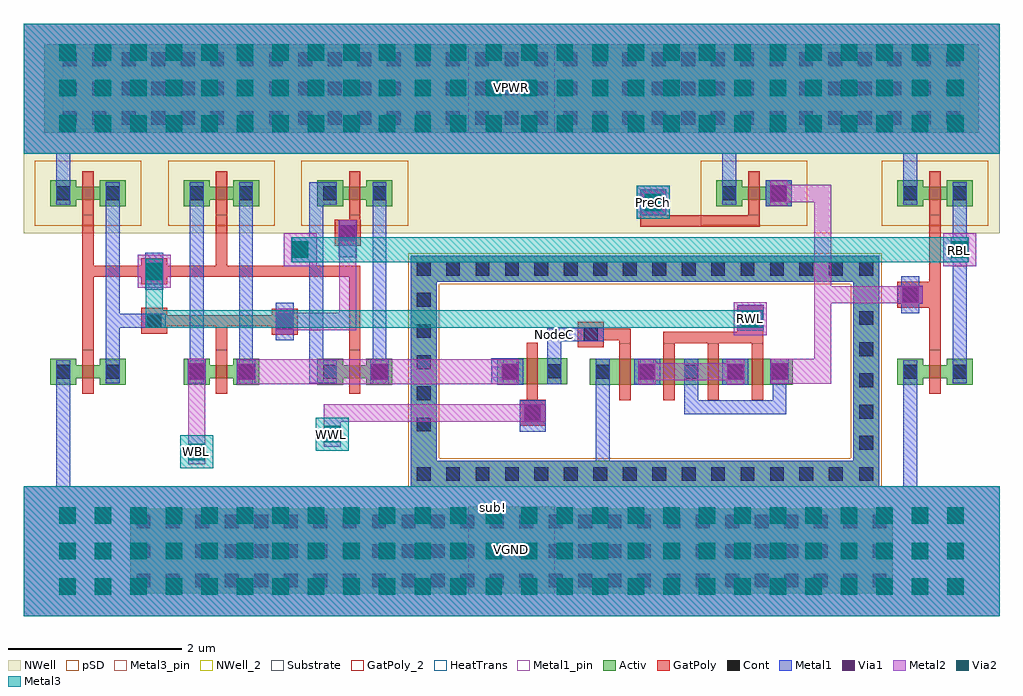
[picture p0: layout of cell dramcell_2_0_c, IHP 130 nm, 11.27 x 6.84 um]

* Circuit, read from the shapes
.subckt dramcell_2_0_c NodeC PreCh RBL RWL VGND VPWR WBL WWL
XM1 n1 RWL VGND VGND sg13_lv_nmos w=0.15u l=0.13u
XM2 n2 n1 WBL VGND sg13_lv_nmos w=0.15u l=0.13u
XM3 n2 RWL RBL VGND sg13_lv_nmos w=0.15u l=0.13u
XM4 NodeC WWL n2 VGND sg13_lv_nmos w=0.3u l=0.13u
XM5 n3 NodeC VGND VGND sg13_lv_nmos w=0.3u l=0.13u
XM6 n4 RWL n3 VGND sg13_lv_nmos w=0.3u l=0.13u m=3
XM7 RBL n4 VGND VGND sg13_lv_nmos w=0.15u l=0.13u
XM8 n1 RWL VPWR VPWR sg13_lv_pmos w=0.15u l=0.13u
XM9 n2 RWL WBL VPWR sg13_lv_pmos w=0.15u l=0.13u
XM10 n2 n1 RBL VPWR sg13_lv_pmos w=0.15u l=0.13u
XM11 n4 PreCh VPWR VPWR sg13_lv_pmos w=0.15u l=0.13u
XM12 RBL n4 VPWR VPWR sg13_lv_pmos w=0.15u l=0.13u
.ends

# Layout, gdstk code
from math import pi, radians
import gdstk
lib = gdstk.Library(unit=1e-6, precision=1e-09)
def R(c, l, rs):  # rectangles x0, y0, x1, y1
    for r in rs: c.add(gdstk.rectangle(r[:2], r[2:], *l))
def A(c, l, x, y, w, h, nx, ny, dx, dy):  # array of equal rectangles
    R(c, l, [(x+i*dx, y+j*dy, x+i*dx+w, y+j*dy+h) for i in range(nx) for j in range(ny)])
def P(c, l, *ps):  # polygons
    for p in ps: c.add(gdstk.Polygon(p, *l))
Activ = (1, 0)
GatPoly = (5, 0)
GatPoly_2 = (5, 2)
Cont = (6, 0)
Metal1 = (8, 0)
Metal1_pin = (8, 2)
Metal2 = (10, 0)
pSD = (14, 0)
Via1 = (19, 0)
Via2 = (29, 0)
Metal3 = (30, 0)
Metal3_pin = (30, 2)
NWell = (31, 0)
NWell_2 = (31, 2)
Substrate = (40, 0)
HeatTrans = (51, 0)

via_stack_4 = lib.new_cell('via_stack$4')
R(via_stack_4, Metal1, [(-0.145,-0.105,0.145,0.105)])
R(via_stack_4, Metal2, [(-0.145,-0.1,0.145,0.1)])
R(via_stack_4, Via1, [(-0.095,-0.095,0.095,0.095)])

nmos = lib.new_cell('nmos')
R(nmos, Activ, [(0,0,0.3,0.3), (0.57,0,0.87,0.3), (0,0.075,0.87,0.225)])
R(nmos, GatPoly, [(0.37,-0.105,0.5,0.405)])
R(nmos, GatPoly_2, [(0.37,-0.105,0.5,0.405)])
R(nmos, Cont, [(0.07,0.07,0.23,0.23), (0.64,0.07,0.8,0.23)])
R(nmos, Metal1, [(0.07,0.02,0.23,0.28), (0.64,0.02,0.8,0.28)])
R(nmos, Metal1_pin, [(0.07,0.02,0.23,0.28), (0.64,0.02,0.8,0.28)])
R(nmos, HeatTrans, [(0.37,-0.105,0.5,0.405)])
nmos.add(gdstk.Label('nmos', (0.435,0.15), layer=63, texttype=0))
nmos.add(gdstk.Label('nmos', (0.435,0.15), layer=51, texttype=0))

pmos = lib.new_cell('pmos')
R(pmos, Activ, [(0,0,0.3,0.3), (0.57,0,0.87,0.3), (0,0.075,0.87,0.225)])
R(pmos, GatPoly, [(0.37,-0.105,0.5,0.405), (0.37,-0.105,0.5,0.405)])
R(pmos, Cont, [(0.07,0.07,0.23,0.23), (0.64,0.07,0.8,0.23)])
R(pmos, Metal1, [(0.07,0.02,0.23,0.28), (0.07,0.02,0.23,0.28), (0.64,0.02,0.8,0.28), (0.64,0.02,0.8,0.28)])
R(pmos, pSD, [(-0.18,-0.225,1.05,0.525)])
R(pmos, NWell, [(-0.31,-0.31,1.18,0.61)])
R(pmos, Substrate, [(0.57,0,0.87,0.3)])
R(pmos, HeatTrans, [(0.37,-0.105,0.5,0.405)])
pmos.add(gdstk.Label('pmos', (0.435,0.15), layer=63, texttype=0))
pmos.add(gdstk.Label('pmos', (0.435,0.15), layer=51, texttype=0))

via_stack = lib.new_cell('via_stack')
R(via_stack, GatPoly, [(-0.15,-0.15,0.15,0.15)])
R(via_stack, Cont, [(-0.08,-0.08,0.08,0.08)])
R(via_stack, Metal1, [(-0.145,-0.105,0.145,0.105)])
R(via_stack, Metal2, [(-0.145,-0.1,0.145,0.1)])
R(via_stack, Via1, [(-0.095,-0.095,0.095,0.095)])

via_stack_7 = lib.new_cell('via_stack$7')
R(via_stack_7, GatPoly, [(-0.15,-0.15,0.15,0.15)])
R(via_stack_7, Cont, [(-0.08,-0.08,0.08,0.08)])
R(via_stack_7, Metal1, [(-0.145,-0.105,0.145,0.105)])
R(via_stack_7, Metal2, [(-0.145,-0.1,0.145,0.1)])
R(via_stack_7, Via1, [(-0.095,-0.095,0.095,0.095)])
R(via_stack_7, Via2, [(-0.095,-0.095,0.095,0.095)])
R(via_stack_7, Metal3, [(-0.145,-0.1,0.145,0.1)])

via_stack_6 = lib.new_cell('via_stack$6')
R(via_stack_6, Metal1, [(-0.145,-0.105,0.145,0.105)])
R(via_stack_6, Metal2, [(-0.145,-0.1,0.145,0.1)])
R(via_stack_6, Via1, [(-0.095,-0.095,0.095,0.095)])
R(via_stack_6, Via2, [(-0.095,-0.095,0.095,0.095)])
R(via_stack_6, Metal3, [(-0.145,-0.1,0.145,0.1)])

via_stack_8 = lib.new_cell('via_stack$8')
R(via_stack_8, Metal1, [(-5.27,-0.515,5.27,0.515)])
R(via_stack_8, Metal2, [(-5.27,-0.51,5.27,0.51)])
A(via_stack_8, Via1, -5.22, -0.505, 0.19, 0.19, 26, 3, 0.41, 0.41)
A(via_stack_8, Via2, -5.22, -0.505, 0.19, 0.19, 26, 3, 0.41, 0.41)
R(via_stack_8, Metal3, [(-5.27,-0.51,5.27,0.51)])

via_stack_9 = lib.new_cell('via_stack$9')
R(via_stack_9, Activ, [(-4.4,-0.49,4.4,0.49)])
A(via_stack_9, Cont, -4.33, -0.42, 0.16, 0.16, 26, 3, 0.34, 0.34)
R(via_stack_9, Metal1, [(-5.27,-0.515,5.27,0.515)])
R(via_stack_9, Metal2, [(-5.27,-0.51,5.27,0.51)])
A(via_stack_9, Via1, -5.22, -0.505, 0.19, 0.19, 26, 3, 0.41, 0.41)
A(via_stack_9, Via2, -5.22, -0.505, 0.19, 0.19, 26, 3, 0.41, 0.41)
R(via_stack_9, Metal3, [(-5.27,-0.51,5.27,0.51)])

via_stack_11 = lib.new_cell('via_stack$11')
R(via_stack_11, GatPoly, [(-0.15,-0.15,0.15,0.15)])
R(via_stack_11, Cont, [(-0.08,-0.08,0.08,0.08)])
R(via_stack_11, Metal1, [(-0.13,-0.08,0.13,0.08)])

ntap1 = lib.new_cell('ntap1')
R(ntap1, Activ, [(0,0,10.79,1.02)])
A(ntap1, Cont, 0.215, 0.09, 0.16, 0.16, 31, 3, 0.34, 0.34)
R(ntap1, Metal1, [(0.215,0.04,10.575,0.98)])
R(ntap1, Metal1_pin, [(0.215,0.04,10.575,0.98), (0.215,0.09,10.575,0.93)])
R(ntap1, NWell, [(-0.24,-0.24,11.03,1.26), (0,0,10.79,1.02)])
R(ntap1, NWell_2, [(0,0,10.79,1.02)])
ntap1.add(gdstk.Label('well', (5.395,0.01), layer=63, texttype=0))
ntap1.add(gdstk.Label('well', (5.395,0.01), layer=31, texttype=0))

via_stack_10 = lib.new_cell('via_stack$10')
R(via_stack_10, Metal2, [(-0.145,-0.1,0.145,0.1)])
R(via_stack_10, Via2, [(-0.095,-0.095,0.095,0.095)])
R(via_stack_10, Metal3, [(-0.145,-0.1,0.145,0.1)])

nmos_2 = lib.new_cell('nmos$2')
R(nmos_2, Activ, [(0,0,0.3,0.3), (0,0,0.81,0.3), (0.51,0,0.81,0.3)])
R(nmos_2, GatPoly, [(0.34,-0.18,0.47,0.48)])
R(nmos_2, GatPoly_2, [(0.34,-0.18,0.47,0.48)])
R(nmos_2, Cont, [(0.07,0.07,0.23,0.23), (0.58,0.07,0.74,0.23)])
R(nmos_2, Metal1, [(0.07,0,0.23,0.3), (0.58,0,0.74,0.3)])
R(nmos_2, Metal1_pin, [(0.07,0,0.23,0.3), (0.58,0,0.74,0.3)])
R(nmos_2, HeatTrans, [(0.34,-0.18,0.47,0.48)])
nmos_2.add(gdstk.Label('nmos', (0.405,0.15), layer=63, texttype=0))
nmos_2.add(gdstk.Label('nmos', (0.405,0.15), layer=51, texttype=0))

via_stack_2 = lib.new_cell('via_stack$2')
R(via_stack_2, GatPoly, [(-0.15,-0.15,0.15,0.15)])
R(via_stack_2, Cont, [(-0.08,-0.08,0.08,0.08)])
R(via_stack_2, Metal1, [(-0.13,-0.08,0.13,0.08)])

nmos_3 = lib.new_cell('nmos$3')
A(nmos_3, Activ, 0, 0, 0.3, 0.3, 5, 1, 0.51, 0)
R(nmos_3, Activ, [(0,0,2.34,0.3)])
A(nmos_3, GatPoly, 0.34, -0.18, 0.13, 0.66, 4, 1, 0.51, 0)
R(nmos_3, GatPoly_2, [(0.34,-0.18,0.47,0.48)])
A(nmos_3, Cont, 0.07, 0.07, 0.16, 0.16, 5, 1, 0.51, 0)
A(nmos_3, Metal1, 0.07, 0, 0.16, 0.3, 5, 1, 0.51, 0)
R(nmos_3, Metal1_pin, [(0.07,0,0.23,0.3), (0.58,0,0.74,0.3)])
A(nmos_3, HeatTrans, 0.34, -0.18, 0.13, 0.66, 4, 1, 0.51, 0)
nmos_3.add(gdstk.Label('nmos', (0.405,0.15), layer=63, texttype=0))
nmos_3.add(gdstk.Label('nmos', (0.405,0.15), layer=51, texttype=0))
nmos_3.add(gdstk.Label('nmos', (0.915,0.15), layer=51, texttype=0))
nmos_3.add(gdstk.Label('nmos', (1.425,0.15), layer=51, texttype=0))
nmos_3.add(gdstk.Label('nmos', (1.935,0.15), layer=51, texttype=0))

dramcell_2_0_c = lib.new_cell('dramcell_2_0_c')
R(dramcell_2_0_c, Activ, [(-1.5,-1.18,-1.2,1.49), (-1.2,-1.18,3.91,-0.88), (3.61,-0.88,3.91,1.49), (-1.2,1.19,3.61,1.49)])
R(dramcell_2_0_c, GatPoly, [(1.42,0.48,2.57,0.61), (4.42,0.89,4.49,1.19)])
A(dramcell_2_0_c, Cont, -1.43, -1.11, 0.16, 0.16, 15, 2, 0.34, 2.37)
A(dramcell_2_0_c, Cont, 3.68, -1.11, 0.16, 0.16, 1, 6, 0, 0.36)
A(dramcell_2_0_c, Cont, -1.43, -0.54, 0.16, 0.16, 1, 5, 0, 0.36)
R(dramcell_2_0_c, Cont, [(0.5,0.5,0.66,0.66), (3.68,1.26,3.84,1.42)])
R(dramcell_2_0_c, Metal1, [(-5.97,-2.675,5.3,-1.175), (-1.5,-1.18,-1.2,1.49), (-1.2,-1.18,3.91,-0.88), (3.61,-0.88,3.91,1.49), (-0.24,-0.545,0.06,-0.245), (-0.24,-0.48,0.06,-0.18), (-0.5,0,-0.2,0.3), (1.08,0,1.38,0.3), (2.1,0,2.4,0.3), (-0.57,0.005,-0.43,0.305), (-2.67,0.02,-2.51,2.34), (-3.06,0.515,-2.85,0.945), (2.275,0.625,2.575,0.925), (4.165,0.825,4.375,1.255), (-4.565,1.095,-4.355,1.525), (-1.2,1.19,3.61,1.49), (-2.33,1.47,-2.12,1.9), (1.15,1.955,1.45,2.255), (2.6,2.06,2.9,2.36), (-5.97,2.67,5.3,4.17)])
P(dramcell_2_0_c, Metal1, [(0.16,0.58),(0.16,0.58),(0.16,0.58),(0.16,0.58)])
R(dramcell_2_0_c, Metal1_pin, [(-0.56,0.08,-0.43,0.21), (0.095,0.515,0.225,0.645)])
R(dramcell_2_0_c, Metal2, [(-5.97,-2.675,5.3,-1.175), (2.86,0.01,3.36,0.3), (2.23,0.57,2.61,0.95), (-4.65,1.12,-4.27,1.5), (-2.965,1.37,-2.585,1.75), (4.65,1.37,5.03,1.75), (1.11,1.915,1.49,2.295), (1.15,1.955,1.45,2.255), (-5.97,2.67,5.3,4.17)])
R(dramcell_2_0_c, pSD, [(-5.97,-2.675,5.3,-1.175), (-1.53,-1.21,-1.17,1.16), (-1.17,-1.21,3.94,-0.85), (3.58,-0.85,3.94,1.52), (-1.53,1.16,3.58,1.52)])
R(dramcell_2_0_c, Metal3, [(-5.97,-2.675,5.3,-1.175), (-4.16,-0.965,-3.78,-0.585), (-2.595,-0.76,-2.215,-0.38), (1.11,1.915,1.49,2.295), (1.15,1.955,1.45,2.255), (-5.97,2.67,5.3,4.17)])
R(dramcell_2_0_c, Metal3_pin, [(-0.835,-2.41,0.165,-1.41), (-4.035,-0.84,-3.905,-0.71), (-2.475,-0.635,-2.345,-0.505), (2.355,0.695,2.485,0.825), (4.775,1.49,4.905,1.62), (1.235,2.045,1.365,2.175), (-0.835,2.915,0.165,3.915)])
R(dramcell_2_0_c, NWell, [(-4.48,1.75,-4.43,2.67), (-2.94,1.75,-2.89,2.67), (-1.4,1.75,1.72,2.67), (3.21,1.75,3.81,2.67)])
R(dramcell_2_0_c, Substrate, [(-5.97,-2.675,5.3,-1.175), (-1.5,-1.18,-1.2,1.19), (-1.2,-1.18,3.91,-0.88), (3.61,-0.88,3.91,1.49), (-1.5,1.19,3.61,1.49)])
dramcell_2_0_c.add(gdstk.FlexPath([(-4.59,0.74),(-4.86,0.74)], 0.16, ends="flush", simple_path=True, layer=8, datatype=0))  # Metal1
dramcell_2_0_c.add(gdstk.FlexPath([(-5.51,0.02),(-5.51,-1.175)], 0.16, ends="flush", simple_path=True, layer=8, datatype=0))  # Metal1
dramcell_2_0_c.add(gdstk.FlexPath([(-3.4,0.295),(-3.4,2.085)], 0.16, ends="flush", simple_path=True, layer=8, datatype=0))  # Metal1
dramcell_2_0_c.add(gdstk.FlexPath([(-3.97,0.3),(-3.97,2.085)], 0.16, ends="flush", simple_path=True, layer=8, datatype=0))  # Metal1
dramcell_2_0_c.add(gdstk.FlexPath([(-1.86,2.08),(-1.86,0.295)], 0.16, ends="flush", simple_path=True, layer=8, datatype=0))  # Metal1
dramcell_2_0_c.add(gdstk.FlexPath([(4.84,2.08),(4.84,0.28)], 0.16, ends="flush", simple_path=True, layer=8, datatype=0))  # Metal1
dramcell_2_0_c.add(gdstk.FlexPath([(-4.94,0.28),(-4.94,2.08)], 0.16, ends="flush", simple_path=True, layer=8, datatype=0))  # Metal1
dramcell_2_0_c.add(gdstk.FlexPath([(-5.51,2.34),(-5.51,2.67)], 0.16, ends="flush", simple_path=True, layer=8, datatype=0))  # Metal1
dramcell_2_0_c.add(gdstk.FlexPath([(4.27,0.025),(4.27,-1.175)], 0.16, ends="flush", simple_path=True, layer=8, datatype=0))  # Metal1
dramcell_2_0_c.add(gdstk.FlexPath([(4.27,2.34),(4.27,2.67)], 0.16, ends="flush", simple_path=True, layer=8, datatype=0))  # Metal1
dramcell_2_0_c.add(gdstk.FlexPath([(2.18,2.34),(2.18,2.67)], 0.16, ends="flush", simple_path=True, layer=8, datatype=0))  # Metal1
dramcell_2_0_c.add(gdstk.FlexPath([(0.16,0.305),(0.16,0.58),(0.73,0.58)], 0.16, ends="flush", simple_path=True, layer=8, datatype=0))  # Metal1
dramcell_2_0_c.add(gdstk.FlexPath([(0.72,0),(0.72,-0.88)], 0.16, ends="flush", simple_path=True, layer=8, datatype=0))  # Metal1
dramcell_2_0_c.add(gdstk.FlexPath([(1.74,0),(1.74,-0.26),(2.76,-0.26),(2.76,0),(2.76,0)], 0.16, ends="flush", simple_path=True, layer=8, datatype=0))  # Metal1
dramcell_2_0_c.add(gdstk.FlexPath([(-3.62,0.74),(-4.31,0.74)], 0.13, ends="flush", simple_path=True, layer=5, datatype=0))  # GatPoly
dramcell_2_0_c.add(gdstk.FlexPath([(-3.685,0.405),(-3.685,0.675)], 0.13, ends="flush", simple_path=True, layer=5, datatype=0))  # GatPoly
dramcell_2_0_c.add(gdstk.FlexPath([(-4.61,1.31),(-5.16,1.31)], 0.13, ends="flush", simple_path=True, layer=5, datatype=0))  # GatPoly
dramcell_2_0_c.add(gdstk.FlexPath([(4.555,1.96),(4.555,0.405)], 0.13, ends="flush", simple_path=True, layer=5, datatype=0))  # GatPoly
dramcell_2_0_c.add(gdstk.FlexPath([(-3.62,1.31),(-2.145,1.31),(-2.145,0.405)], 0.13, ends="flush", simple_path=True, layer=5, datatype=0))  # GatPoly
dramcell_2_0_c.add(gdstk.FlexPath([(-5.225,0.405),(-5.225,1.955),(-5.225,1.955),(-5.225,1.955)], 0.13, ends="flush", simple_path=True, layer=5, datatype=0))  # GatPoly
dramcell_2_0_c.add(gdstk.FlexPath([(-3.685,1.955),(-3.685,1.31),(-4.31,1.31)], 0.13, ends="flush", simple_path=True, layer=5, datatype=0))  # GatPoly
dramcell_2_0_c.add(gdstk.FlexPath([(-3.62,0.74),(-3.105,0.74)], 0.13, ends="flush", simple_path=True, layer=5, datatype=0))  # GatPoly
dramcell_2_0_c.add(gdstk.FlexPath([(2.465,1.955),(2.465,1.89),(1.21,1.89),(1.15,1.89)], 0.13, ends="flush", simple_path=True, layer=5, datatype=0))  # GatPoly
dramcell_2_0_c.add(gdstk.FlexPath([(-2.145,1.955),(-2.145,1.905)], 0.13, ends="flush", simple_path=True, layer=5, datatype=0))  # GatPoly
dramcell_2_0_c.add(gdstk.FlexPath([(0.975,0.48),(0.975,0.58),(0.73,0.58)], 0.13, ends="flush", simple_path=True, layer=5, datatype=0))  # GatPoly
dramcell_2_0_c.add(gdstk.FlexPath([(0.73,0.58),(0.43,0.58),(0.43,0.58)], 0.3, ends="flush", simple_path=True, layer=5, datatype=0))  # GatPoly
dramcell_2_0_c.add(gdstk.FlexPath([(1.33,0.15),(2.15,0.15)], 0.2, ends="flush", simple_path=True, layer=10, datatype=0))  # Metal2
dramcell_2_0_c.add(gdstk.FlexPath([(2.85,2.21),(3.26,2.21),(3.26,0.3)], 0.2, ends="flush", simple_path=True, layer=10, datatype=0))  # Metal2
dramcell_2_0_c.add(gdstk.FlexPath([(4.125,1.04),(3.36,1.04)], 0.2, ends="flush", simple_path=True, layer=10, datatype=0))  # Metal2
dramcell_2_0_c.add(gdstk.FlexPath([(-1.76,0.15),(-0.45,0.15)], 0.29, ends="flush", simple_path=True, layer=10, datatype=0))  # Metal2
dramcell_2_0_c.add(gdstk.FlexPath([(-3.3,0.15),(-1.96,0.15)], 0.29, ends="flush", simple_path=True, layer=10, datatype=0))  # Metal2
dramcell_2_0_c.add(gdstk.FlexPath([(-3.97,-0.63),(-3.97,0.01)], 0.2, ends="flush", simple_path=True, layer=10, datatype=0))  # Metal2
dramcell_2_0_c.add(gdstk.FlexPath([(-0.235,-0.325),(-2.505,-0.325)], 0.2, ends="flush", simple_path=True, layer=10, datatype=0))  # Metal2
dramcell_2_0_c.add(gdstk.FlexPath([(-2.855,0.73),(-2.225,0.73),(-2.225,1.61)], 0.2, ends="flush", simple_path=True, layer=10, datatype=0))  # Metal2
dramcell_2_0_c.add(gdstk.FlexPath([(-4.46,1.165),(-4.46,0.76),(2.275,0.76),(2.275,0.76)], 0.2, ends="flush", simple_path=True, layer=30, datatype=0))  # Metal3
dramcell_2_0_c.add(gdstk.FlexPath([(4.74,1.56),(-2.675,1.56)], 0.29, ends="flush", simple_path=True, layer=30, datatype=0))  # Metal3
dramcell_2_0_c.add(gdstk.Reference(via_stack_4, (-3.4,0.15), rotation=3*pi/2))
dramcell_2_0_c.add(gdstk.Reference(nmos, (-1.71,0), rotation=pi, x_reflection=True))
dramcell_2_0_c.add(gdstk.Reference(pmos, (4.12,2.06)))
dramcell_2_0_c.add(gdstk.Reference(pmos, (-5.66,2.06)))
dramcell_2_0_c.add(gdstk.Reference(pmos, (2.03,2.06)))
dramcell_2_0_c.add(gdstk.Reference(pmos, (-1.71,2.06), rotation=pi, x_reflection=True))
dramcell_2_0_c.add(gdstk.Reference(pmos, (-4.12,2.06)))
dramcell_2_0_c.add(gdstk.Reference(via_stack_4, (-1.86,0.15), rotation=3*pi/2))
dramcell_2_0_c.add(gdstk.Reference(via_stack, (-2.225,1.755), rotation=3*pi/2))
dramcell_2_0_c.add(gdstk.Reference(via_stack_7, (-4.46,1.31), rotation=pi/2))
dramcell_2_0_c.add(gdstk.Reference(via_stack, (-2.955,0.73), rotation=3*pi/2))
dramcell_2_0_c.add(gdstk.Reference(via_stack_6, (4.84,1.56), rotation=3*pi/2))
dramcell_2_0_c.add(gdstk.Reference(nmos, (-5.66,0)))
dramcell_2_0_c.add(gdstk.Reference(via_stack, (4.27,1.04), rotation=pi))
dramcell_2_0_c.add(gdstk.Reference(via_stack_4, (2.76,0.155), rotation=3*pi/2))
dramcell_2_0_c.add(gdstk.Reference(via_stack_4, (2.75,2.21), rotation=3*pi/2))
dramcell_2_0_c.add(gdstk.Reference(via_stack_8, (-0.335,3.425)))
dramcell_2_0_c.add(gdstk.Reference(via_stack_9, (-0.335,-1.92)))
dramcell_2_0_c.add(gdstk.Reference(via_stack_6, (-2.775,1.56), rotation=3*pi/2))
dramcell_2_0_c.add(gdstk.Reference(via_stack_11, (-4.46,0.74)))
dramcell_2_0_c.add(gdstk.Reference(ntap1, (-5.73,2.91)))
dramcell_2_0_c.add(gdstk.Reference(via_stack_4, (-0.09,-0.325), rotation=pi))
dramcell_2_0_c.add(gdstk.Reference(via_stack_4, (-3.97,0.155), rotation=3*pi/2))
dramcell_2_0_c.add(gdstk.Reference(via_stack_10, (-3.97,-0.775), rotation=3*pi/2))
dramcell_2_0_c.add(gdstk.Reference(nmos, (4.12,0)))
dramcell_2_0_c.add(gdstk.Reference(nmos_2, (-0.5,0.005)))
dramcell_2_0_c.add(gdstk.Reference(nmos, (-4.12,0)))
dramcell_2_0_c.add(gdstk.Reference(via_stack_4, (-0.35,0.15), rotation=3*pi/2))
dramcell_2_0_c.add(gdstk.Reference(via_stack_10, (-2.405,-0.57), rotation=3*pi/2))
dramcell_2_0_c.add(gdstk.Reference(via_stack_2, (2.42,0.76)))
dramcell_2_0_c.add(gdstk.Reference(via_stack_2, (-0.09,-0.325)))
dramcell_2_0_c.add(gdstk.Reference(via_stack_6, (2.42,0.76)))
dramcell_2_0_c.add(gdstk.Reference(via_stack_4, (1.23,0.15), rotation=3*pi/2))
dramcell_2_0_c.add(gdstk.Reference(via_stack_4, (2.25,0.15), rotation=3*pi/2))
dramcell_2_0_c.add(gdstk.Reference(via_stack_7, (1.3,2.105), rotation=3*pi/2))
dramcell_2_0_c.add(gdstk.Reference(nmos_3, (0.57,0)))
dramcell_2_0_c.add(gdstk.Label('sub!', (-0.54,-1.415), layer=63, texttype=0))
dramcell_2_0_c.add(gdstk.Label('RWL', (2.42,0.76), layer=30, texttype=25))
dramcell_2_0_c.add(gdstk.Label('WBL', (-3.97,-0.775), layer=30, texttype=25))
dramcell_2_0_c.add(gdstk.Label('VPWR', (-0.339,3.429), layer=30, texttype=25))
dramcell_2_0_c.add(gdstk.Label('VGND', (-0.33,-1.905), layer=30, texttype=25))
dramcell_2_0_c.add(gdstk.Label('RBL', (4.84,1.555), layer=30, texttype=25))
dramcell_2_0_c.add(gdstk.Label('PreCh', (1.3,2.11), layer=30, texttype=25))
dramcell_2_0_c.add(gdstk.Label('WWL', (-2.41,-0.57), layer=30, texttype=25))
dramcell_2_0_c.add(gdstk.Label('NodeC', (0.16,0.58), layer=8, texttype=25))

lib.write_gds('dramcell_2_0_c.gds')
